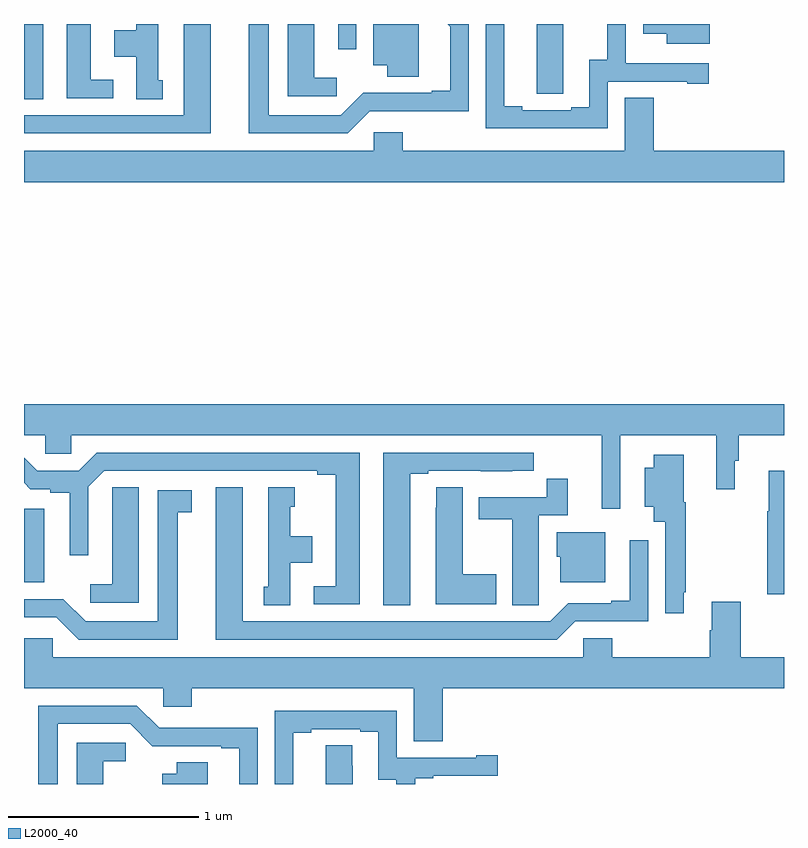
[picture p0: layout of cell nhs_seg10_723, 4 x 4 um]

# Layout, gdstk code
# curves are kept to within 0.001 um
import gdstk
lib = gdstk.Library(unit=1e-6, precision=1e-09)
def R(c, l, rs):  # rectangles x0, y0, x1, y1
    for r in rs: c.add(gdstk.rectangle(r[:2], r[2:], *l))
def P(c, l, *ps):  # polygons
    for p in ps: c.add(gdstk.Polygon(p, *l))
L2000_40 = (2000, 40)

nhs_seg10_723 = lib.new_cell('nhs_seg10_723')
R(nhs_seg10_723, L2000_40, [(147,1279.562,147.106,1279.95), (147,1282.105,147.1,1282.5), (148.653,1282.368,148.749,1282.5)])
P(nhs_seg10_723, L2000_40, [(148.645,1282.216),(148.528,1282.216),(148.528,1282.5),(148.388,1282.5),(148.388,1282.119),(148.645,1282.119)],
  [(149.077,1282.5),(148.838,1282.5),(148.838,1282.283),(148.913,1282.283),(148.913,1282.222),(149.077,1282.222)],
  [(147.73,1282.203),(147.706,1282.203),(147.706,1282.5),(147.59,1282.5),(147.59,1282.468),(147.476,1282.468),(147.476,1282.328),(147.59,1282.328),(147.59,1282.105),(147.73,1282.105)],
  [(147.982,1282.5),(147.842,1282.5),(147.842,1282.02),(147,1282.02),(147,1281.924),(147.982,1281.924)],
  [(150.61,1282.5),(150.258,1282.5),(150.258,1282.448),(150.383,1282.448),(150.383,1282.397),(150.61,1282.397)],
  [(148.821,1282.041),(149.34,1282.04),(149.34,1282.5),(149.229,1282.5),(149.243,1282.486),(149.243,1282.15),(149.147,1282.15),(149.147,1282.137),(148.786,1282.138),(148.668,1282.02),(148.288,1282.02),(148.288,1282.5),(148.184,1282.5),(148.184,1281.924),(148.704,1281.924)],
  [(150.072,1282.197),(150.491,1282.197),(150.491,1282.185),(150.604,1282.185),(150.604,1282.293),(150.17,1282.293),(150.17,1282.294),(150.168,1282.294),(150.168,1282.5),(150.07,1282.5),(150.07,1282.313),(149.975,1282.313),(149.975,1282.062),(149.879,1282.062),(149.879,1282.047),(149.623,1282.047),(149.623,1282.067),(149.527,1282.067),(149.527,1282.5),(149.43,1282.5),(149.43,1281.951),(150.072,1281.951)],
  [(149.838,1282.24),(149.839,1282.24),(149.839,1282.5),(149.699,1282.5),(149.699,1282.132),(149.838,1282.132)],
  [(147.469,1282.206),(147.352,1282.206),(147.352,1282.5),(147.224,1282.5),(147.224,1282.11),(147.469,1282.11)],
  [(151,1281.832),(150.314,1281.832),(150.314,1282.112),(150.161,1282.112),(150.161,1281.832),(148.994,1281.832),(148.994,1281.93),(148.842,1281.93),(148.842,1281.832),(147,1281.832),(147,1281.668),(151,1281.668)],
  [(150.138,1280.336),(150.644,1280.336),(150.644,1280.052),(150.742,1280.052),(150.742,1280.202),(150.761,1280.202),(150.761,1280.336),(151,1280.336),(151,1280.5),(147,1280.5),(147,1280.336),(147.111,1280.336),(147.111,1280.238),(147.249,1280.238),(147.249,1280.336),(150.041,1280.336),(150.041,1279.95),(150.138,1279.95)],
  [(149.032,1280.133),(149.128,1280.133),(149.128,1280.148),(149.404,1280.148),(149.404,1280.147),(149.57,1280.147),(149.57,1280.148),(149.683,1280.148),(149.683,1280.244),(148.892,1280.244),(148.892,1279.441),(149.032,1279.441)],
  [(148.768,1280.244),(147.383,1280.244),(147.287,1280.148),(147.069,1280.148),(147,1280.217),(147,1280.085),(147.033,1280.052),(147.138,1280.052),(147.138,1280.032),(147.242,1280.032),(147.242,1279.704),(147.339,1279.704),(147.339,1280.064),(147.423,1280.148),(148.544,1280.148),(148.544,1280.128),(148.64,1280.128),(148.64,1279.542),(148.524,1279.542),(148.524,1279.446),(148.768,1279.446)],
  [(150.472,1279.51),(150.484,1279.51),(150.484,1279.984),(150.472,1279.984),(150.472,1280.233),(150.314,1280.233),(150.314,1280.164),(150.266,1280.164),(150.266,1279.958),(150.314,1279.958),(150.314,1279.88),(150.375,1279.88),(150.375,1279.398),(150.472,1279.398)],
  [(151,1280.149),(150.92,1280.149),(150.92,1279.936),(150.913,1279.936),(150.913,1279.5),(151,1279.5)],
  [(149.709,1279.552),(149.71,1279.552),(149.71,1279.914),(149.861,1279.914),(149.861,1280.107),(149.752,1280.107),(149.752,1280.01),(149.393,1280.01),(149.393,1279.894),(149.57,1279.894),(149.57,1279.441),(149.709,1279.441)],
  [(147.604,1280.063),(147.465,1280.063),(147.465,1279.955),(147.464,1279.955),(147.464,1279.552),(147.348,1279.552),(147.348,1279.455),(147.604,1279.455)],
  [(149.485,1279.605),(149.308,1279.605),(149.308,1280.063),(149.169,1280.063),(149.169,1279.955),(149.168,1279.955),(149.168,1279.445),(149.485,1279.445)],
  [(149.901,1279.356),(150.285,1279.356),(150.285,1279.783),(150.188,1279.783),(150.188,1279.465),(150.092,1279.465),(150.092,1279.452),(149.865,1279.452),(149.769,1279.356),(148.15,1279.356),(148.15,1280.062),(148.01,1280.062),(148.01,1279.26),(149.805,1279.26)],
  [(148.402,1279.664),(148.516,1279.664),(148.516,1279.804),(148.402,1279.804),(148.402,1279.959),(148.426,1279.959),(148.426,1280.062),(148.286,1280.062),(148.286,1279.539),(148.262,1279.539),(148.262,1279.441),(148.402,1279.441)],
  [(147.808,1279.93),(147.883,1279.93),(147.883,1280.046),(147.704,1280.046),(147.704,1279.356),(147.324,1279.356),(147.207,1279.473),(147,1279.473),(147,1279.377),(147.171,1279.377),(147.288,1279.26),(147.808,1279.26)],
  [(150.058,1279.825),(149.804,1279.825),(149.804,1279.695),(149.822,1279.695),(149.822,1279.562),(150.058,1279.562)],
  [(149.204,1279.004),(151,1279.004),(151,1279.168),(150.773,1279.168),(150.773,1279.459),(150.62,1279.459),(150.62,1279.31),(150.608,1279.31),(150.608,1279.168),(150.095,1279.168),(150.095,1279.266),(149.943,1279.266),(149.943,1279.168),(147.15,1279.168),(147.15,1279.266),(147,1279.266),(147,1279.004),(147.732,1279.004),(147.732,1278.906),(147.884,1278.906),(147.884,1279.004),(149.051,1279.004),(149.051,1278.724),(149.204,1278.724)],
  [(147.178,1278.816),(147.558,1278.816),(147.676,1278.698),(148.037,1278.699),(148.037,1278.687),(148.133,1278.687),(148.133,1278.5),(148.23,1278.5),(148.23,1278.797),(147.967,1278.797),(147.967,1278.795),(147.711,1278.795),(147.594,1278.912),(147.074,1278.912),(147.074,1278.5),(147.178,1278.5)],
  [(148.417,1278.769),(148.513,1278.769),(148.513,1278.789),(148.769,1278.789),(148.769,1278.774),(148.865,1278.774),(148.865,1278.523),(148.96,1278.523),(148.96,1278.5),(149.06,1278.5),(149.06,1278.531),(149.155,1278.531),(149.155,1278.543),(149.494,1278.543),(149.494,1278.652),(149.381,1278.652),(149.381,1278.639),(148.962,1278.639),(148.962,1278.885),(148.32,1278.885),(148.32,1278.5),(148.417,1278.5)],
  [(147.418,1278.62),(147.535,1278.62),(147.535,1278.717),(147.278,1278.717),(147.278,1278.5),(147.418,1278.5)],
  [(148.729,1278.596),(148.728,1278.596),(148.728,1278.704),(148.589,1278.704),(148.589,1278.5),(148.729,1278.5)],
  [(147.967,1278.614),(147.803,1278.614),(147.803,1278.553),(147.728,1278.553),(147.728,1278.5),(147.967,1278.5)])

lib.write_gds('nhs_seg10_723.gds')
